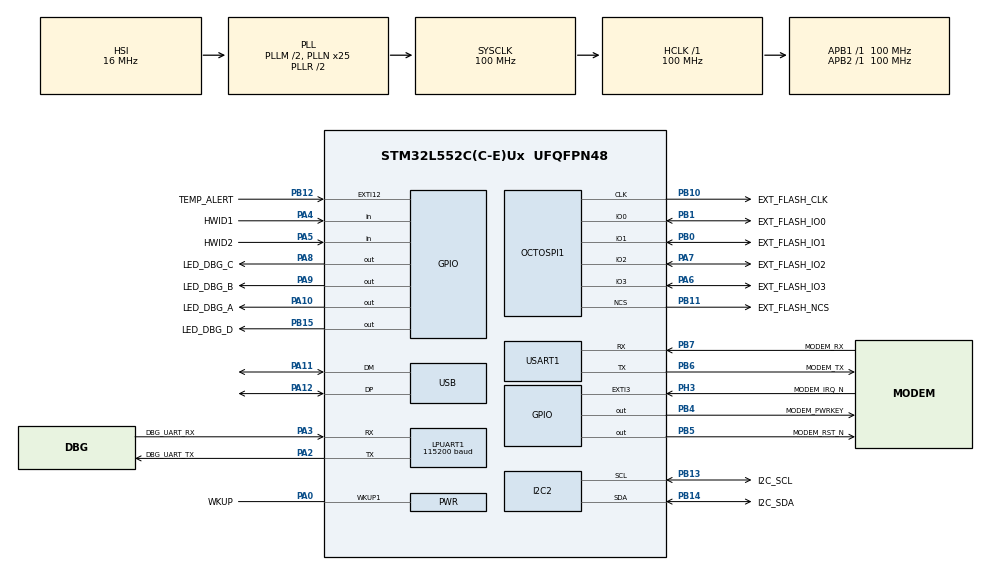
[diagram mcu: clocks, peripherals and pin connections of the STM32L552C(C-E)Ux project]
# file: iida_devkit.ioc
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I2C2.Timing=0x00303D5B
LPUART1.BaudRate=115200
Mcu.Family=STM32L5
Mcu.Name=STM32L552C(C-E)Ux
Mcu.Package=UFQFPN48
NVIC.EXTI12_IRQn=true\:0\:0\:false\:false\:true\:true\:true\:true
NVIC.EXTI3_IRQn=true\:0\:0\:false\:false\:true\:true\:true\:true
NVIC.HASH_IRQn=true\:0\:0\:false\:false\:true\:true\:true\:true
NVIC.I2C2_ER_IRQn=true\:0\:0\:false\:false\:true\:true\:true\:true
NVIC.I2C2_EV_IRQn=true\:0\:0\:false\:false\:true\:true\:true\:true
NVIC.LPUART1_IRQn=true\:0\:0\:false\:false\:true\:true\:true\:true
NVIC.OCTOSPI1_IRQn=true\:0\:0\:false\:false\:true\:true\:true\:true
NVIC.PVD_PVM_IRQn=true\:0\:0\:false\:false\:true\:true\:true\:true
NVIC.PriorityGroup=NVIC_PRIORITYGROUP_3
NVIC.RNG_IRQn=true\:0\:0\:false\:false\:true\:true\:true\:true
NVIC.USART1_IRQn=true\:0\:0\:false\:false\:true\:true\:true\:true
NVIC.USB_FS_IRQn=true\:0\:0\:false\:false\:true\:true\:true\:true
PA0.GPIO_Label=WKUP
PA0.Mode=WakeUp0
PA0.Signal=PWR_WKUP1
PA10.GPIO_Label=LED_DBG_A
PA10.GPIO_PuPd=GPIO_PULLUP
PA10.Signal=GPIO_Output
PA11.GPIO_Speed=GPIO_SPEED_FREQ_VERY_HIGH
PA11.Mode=Device
PA11.Signal=USB_DM
PA12.GPIO_Speed=GPIO_SPEED_FREQ_VERY_HIGH
PA12.Mode=Device
PA12.Signal=USB_DP
PA13\ (JTMS/SWDIO).GPIO_Label=SWDIO
PA13\ (JTMS/SWDIO).Mode=Trace_Asynchronous_SW
PA13\ (JTMS/SWDIO).Signal=DEBUG_JTMS-SWDIO
PA14\ (JTCK/SWCLK).GPIO_Label=SWCLK
PA14\ (JTCK/SWCLK).Mode=Trace_Asynchronous_SW
PA14\ (JTCK/SWCLK).Signal=DEBUG_JTCK-SWCLK
PA2.GPIO_Label=DBG_UART_TX
PA2.GPIO_Speed=GPIO_SPEED_FREQ_HIGH
PA2.Mode=Asynchronous
PA2.Signal=LPUART1_TX
PA3.GPIO_Label=DBG_UART_RX
PA3.GPIO_Speed=GPIO_SPEED_FREQ_HIGH
PA3.Mode=Asynchronous
PA3.Signal=LPUART1_RX
PA4.GPIO_Label=HWID1
PA4.Signal=GPIO_Input
PA5.GPIO_Label=HWID2
PA5.Signal=GPIO_Input
PA6.GPIO_Label=EXT_FLASH_IO3
PA6.Mode=quad_mode
PA6.Signal=OCTOSPI1_IO3
PA7.GPIO_Label=EXT_FLASH_IO2
PA7.Mode=quad_mode
PA7.Signal=OCTOSPI1_IO2
PA8.GPIO_Label=LED_DBG_C
PA8.GPIO_PuPd=GPIO_PULLUP
PA8.Signal=GPIO_Output
PA9.GPIO_Label=LED_DBG_B
PA9.GPIO_PuPd=GPIO_PULLUP
PA9.Signal=GPIO_Output
PB0.GPIO_Label=EXT_FLASH_IO1
PB0.Mode=quad_mode
PB0.Signal=OCTOSPI1_IO1
PB1.GPIO_Label=EXT_FLASH_IO0
PB1.Mode=quad_mode
PB1.Signal=OCTOSPI1_IO0
PB10.GPIO_Label=EXT_FLASH_CLK
PB10.Mode=quad_mode
PB10.Signal=OCTOSPI1_CLK
PB11.GPIO_Label=EXT_FLASH_NCS
PB11.Mode=quad_mode
PB11.Signal=OCTOSPI1_NCS
PB12.GPIO_Label=TEMP_ALERT
PB12.GPIO_ModeDefaultEXTI=GPIO_MODE_IT_FALLING
PB12.GPIO_PuPd=GPIO_PULLUP
PB12.Signal=GPXTI12
PB13.GPIO_Label=I2C_SCL
PB13.GPIO_Speed=GPIO_SPEED_FREQ_HIGH
PB13.Mode=I2C
PB13.Signal=I2C2_SCL
PB14.GPIO_Label=I2C_SDA
PB14.GPIO_Speed=GPIO_SPEED_FREQ_HIGH
PB14.Mode=I2C
PB14.Signal=I2C2_SDA
PB15.GPIO_Label=LED_DBG_D
PB15.GPIO_PuPd=GPIO_PULLUP
PB15.Signal=GPIO_Output
PB3\ (JTDO/TRACESWO).GPIO_Label=SWO
PB3\ (JTDO/TRACESWO).Mode=Trace_Asynchronous_SW
PB3\ (JTDO/TRACESWO).Signal=DEBUG_JTDO-SWO
PB4\ (NJTRST).GPIO_Label=MODEM_PWRKEY
PB4\ (NJTRST).GPIO_PuPd=GPIO_PULLDOWN
PB4\ (NJTRST).Signal=GPIO_Output
PB5.GPIO_Label=MODEM_RST_N
PB5.GPIO_PuPd=GPIO_PULLUP
PB5.Signal=GPIO_Output
PB6.GPIO_Label=MODEM_TX
PB6.GPIO_Speed=GPIO_SPEED_FREQ_HIGH
PB6.Mode=Asynchronous
PB6.Signal=USART1_TX
PB7.GPIO_Label=MODEM_RX
PB7.GPIO_Speed=GPIO_SPEED_FREQ_HIGH
PB7.Mode=Asynchronous
PB7.Signal=USART1_RX
PC14-OSC32_IN\ (PC14).GPIO_Label=LSE_IN
PC14-OSC32_IN\ (PC14).Mode=LSE-External-Oscillator
PC14-OSC32_IN\ (PC14).Signal=RCC_OSC32_IN
PC15-OSC32_OUT\ (PC15).GPIO_Label=LSE_OUT
PC15-OSC32_OUT\ (PC15).Mode=LSE-External-Oscillator
PC15-OSC32_OUT\ (PC15).Signal=RCC_OSC32_OUT
PH0-OSC_IN\ (PH0).GPIO_Label=HSE_IN
PH0-OSC_IN\ (PH0).Mode=HSE-External-Oscillator
PH0-OSC_IN\ (PH0).Signal=RCC_OSC_IN
PH1-OSC_OUT\ (PH1).GPIO_Label=HSE_OUT
PH1-OSC_OUT\ (PH1).Mode=HSE-External-Oscillator
PH1-OSC_OUT\ (PH1).Signal=RCC_OSC_OUT
PH3-BOOT0.GPIO_Label=MODEM_IRQ_N
PH3-BOOT0.GPIO_ModeDefaultEXTI=GPIO_MODE_IT_FALLING
PH3-BOOT0.GPIO_PuPd=GPIO_PULLUP
PH3-BOOT0.Signal=GPXTI3
ProjectManager.HeapSize=0x200
ProjectManager.StackSize=0x400
ProjectManager.TargetToolchain=Makefile
RCC.ADCFreq_Value=48000000
RCC.AHBFreq_Value=100000000
RCC.APB1Freq_Value=100000000
RCC.APB1TimFreq_Value=100000000
RCC.APB2Freq_Value=100000000
RCC.APB2TimFreq_Value=100000000
RCC.CortexFreq_Value=100000000
RCC.FLatency=FLASH_LATENCY_4
RCC.HCLKFreq_Value=100000000
RCC.HSE_VALUE=16000000
RCC.HSI48_VALUE=48000000
RCC.HSI_VALUE=16000000
RCC.I2C2CLockSelection=RCC_I2C2CLKSOURCE_HSI
RCC.LPUART1CLockSelectionVirtual=RCC_LPUART1CLKSOURCE_SYSCLK
RCC.MSIClockRange=RCC_MSIRANGE_8
RCC.MSI_VALUE=16000000
RCC.OCTOSPIMCLockSelection=RCC_OSPICLKSOURCE_PLL
RCC.PLLM=2
RCC.PLLN=25
RCC.PLLSAI1M=4
RCC.PLLSAI1N=24
RCC.PLLSAI1Source=RCC_PLLSAI1SOURCE_HSE
RCC.PLLSAI2Source=RCC_PLLSAI2SOURCE_HSE
RCC.PLLSourceVirtual=RCC_PLLSOURCE_HSI
RCC.RTCClockSelection=RCC_RTCCLKSOURCE_LSE
RCC.SYSCLKFreq_VALUE=100000000
RCC.SYSCLKSource=RCC_SYSCLKSOURCE_PLLCLK
RCC.USART1CLockSelectionVirtual=RCC_USART1CLKSOURCE_SYSCLK
RCC.USBFreq_Value=48000000
RCC.VCOOutputFreq_Value=200000000
USART1.VirtualMode-Asynchronous=VM_ASYNC
USB.battery_charging_enable=ENABLE
VP_CRC_VS_CRC.Mode=CRC_Activate
VP_HASH_VS_HASH.Mode=HASH_Activate
VP_ICACHE_VS_ICACHE.Mode=DirectMappedCache
VP_PWR_VS_DBSignals.Mode=DisableDeadBatterySignals
VP_PWR_VS_SECSignals.Mode=Security/Privilege
VP_RNG_VS_RNG.Mode=RNG_Activate
VP_RTC_VS_RTC_Activate.Mode=RTC_Enabled
VP_RTC_VS_RTC_Calendar.Mode=RTC_Calendar
board=custom

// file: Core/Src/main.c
/* USER CODE BEGIN Header */
// clang-format off
/**
  ******************************************************************************
  * @file           : main.c
  * @brief          : Main program body
  ******************************************************************************
  * @attention
  *
  * Copyright (c) 2024 STMicroelectronics.
  * All rights reserved.
  *
  * This software is licensed under terms that can be found in the LICENSE file
  * in the root directory of this software component.
  * If no LICENSE file comes with this software, it is provided AS-IS.
  *
  ******************************************************************************
  */
/* USER CODE END Header */
#include "main.h"
#include "crc.h"
#include "hash.h"
#include "i2c.h"
#include "icache.h"
#include "usart.h"
#include "octospi.h"
#include "rng.h"
#include "rtc.h"
#include "usb.h"
#include "gpio.h"

/* USER CODE BEGIN Includes */
#include <stdint.h>
#include <stdbool.h>
#include <string.h>
#include <stdio.h>
/* USER CODE END Includes */

/* USER CODE BEGIN PM */
#define STRINGIFY(x) #x
/* USER CODE END PM */

/* USER CODE BEGIN PV */
static enum {
  TEST_INIT = 0,
  TEST_LED_A,
  TEST_LED_B,
  TEST_LED_C,
  TEST_LED_D,
  TEST_DBG_UART,
  TEST_MODEM_UART,
  TEST_QSPI,
  TEST_RTC,
  TEST_I2C,
  TEST_COUNT
} _test;
static const char* _test_names[TEST_COUNT] = {
  STRINGIFY(TEST_INIT),
  STRINGIFY(TEST_LED_A),
  STRINGIFY(TEST_LED_B),
  STRINGIFY(TEST_LED_C),
  STRINGIFY(TEST_LED_D),
  STRINGIFY(TEST_DBG_UART),
  STRINGIFY(TEST_MODEM_UART),
  STRINGIFY(TEST_QSPI),
  STRINGIFY(TEST_RTC),
  STRINGIFY(TEST_I2C)
};
#define MIN_I2C_SLAVE_ADDRESS (0x0U)
#define MAX_I2C_SLAVE_ADDRESS (0x7FU)
static bool _connected_i2c_slaves[MAX_I2C_SLAVE_ADDRESS + 1];
/* USER CODE END PV */

void SystemClock_Config(void);
void PeriphCommonClock_Config(void);

/* USER CODE BEGIN 0 */
int __io_putchar(int ch) {
  return HAL_UART_Transmit(&hlpuart1, (uint8_t*)&ch, 1, 1000UL);
}

int __io_getchar(void) {
  uint8_t ch = 0xFFU;
  if (HAL_UART_Receive(&hlpuart1, &ch, 1, 1000UL) != HAL_OK) {
    return -1;
  }
  return ch;
}
/* USER CODE END 0 */

int main(void)
{

  /* USER CODE BEGIN 1 */
  _test = TEST_INIT;
  bool test_results[TEST_COUNT];
  /* USER CODE END 1 */

  /* MCU Configuration--------------------------------------------------------*/

  /* Reset of all peripherals, Initializes the Flash interface and the Systick. */
  HAL_Init();

  /* Configure the system clock */
  SystemClock_Config();

/* Configure the peripherals common clocks */
  PeriphCommonClock_Config();

  /* Initialize all configured peripherals */
  MX_GPIO_Init();
  MX_CRC_Init();
  MX_HASH_Init();
  MX_I2C2_Init();
  MX_ICACHE_Init();
  MX_LPUART1_UART_Init();
  MX_USART1_UART_Init();
  MX_OCTOSPI1_Init();
  MX_RNG_Init();
  MX_RTC_Init();
  MX_USB_PCD_Init();

  /* Infinite loop */
  /* USER CODE BEGIN WHILE */
  while (1) {
    if (_test >= TEST_COUNT) {
      break;
    }
    printf("TEST: Start %s\n", _test_names[_test]);
    switch (_test) {
      case TEST_INIT:
        for (unsigned i = 0; i < TEST_COUNT; i++) {
          test_results[i] = false;
        }
        for (unsigned i = MIN_I2C_SLAVE_ADDRESS; i < (MAX_I2C_SLAVE_ADDRESS + 1); i++) {
          _connected_i2c_slaves[i] = false;
        }
        HAL_GPIO_WritePin(LED_DBG_A, GPIO_PIN_SET);
        HAL_GPIO_WritePin(LED_DBG_B, GPIO_PIN_SET);
        HAL_GPIO_WritePin(LED_DBG_C, GPIO_PIN_SET);
        HAL_GPIO_WritePin(LED_DBG_D, GPIO_PIN_SET);
        test_results[_test] = true;
        break;
      case TEST_LED_A:
        HAL_GPIO_WritePin(LED_DBG_A, GPIO_PIN_RESET);
        if (HAL_GPIO_ReadPin(LED_DBG_A) != GPIO_PIN_RESET) {
          break;
        }
        HAL_Delay(250UL);
        HAL_GPIO_WritePin(LED_DBG_A, GPIO_PIN_SET);
        if (HAL_GPIO_ReadPin(LED_DBG_A) != GPIO_PIN_SET) {
          break;
        }
        test_results[_test] = true;
        break;
      case TEST_LED_B:
        HAL_GPIO_WritePin(LED_DBG_B, GPIO_PIN_RESET);
        if (HAL_GPIO_ReadPin(LED_DBG_B) != GPIO_PIN_RESET) {
          break;
        }
        HAL_Delay(250UL);
        HAL_GPIO_WritePin(LED_DBG_B, GPIO_PIN_SET);
        if (HAL_GPIO_ReadPin(LED_DBG_B) != GPIO_PIN_SET) {
          break;
        }
        test_results[_test] = true;
        break;
      case TEST_LED_C:
        HAL_GPIO_WritePin(LED_DBG_C, GPIO_PIN_RESET);
        if (HAL_GPIO_ReadPin(LED_DBG_C) != GPIO_PIN_RESET) {
          break;
        }
        HAL_Delay(250UL);
        HAL_GPIO_WritePin(LED_DBG_C, GPIO_PIN_SET);
        if (HAL_GPIO_ReadPin(LED_DBG_C) != GPIO_PIN_SET) {
          break;
        }
        test_results[_test] = true;
        break;
      case TEST_LED_D:
        HAL_GPIO_WritePin(LED_DBG_D, GPIO_PIN_RESET);
        if (HAL_GPIO_ReadPin(LED_DBG_D) != GPIO_PIN_RESET) {
          break;
        }
        HAL_Delay(250UL);
        HAL_GPIO_WritePin(LED_DBG_D, GPIO_PIN_SET);
        if (HAL_GPIO_ReadPin(LED_DBG_D) != GPIO_PIN_SET) {
          break;
        }
        test_results[_test] = true;
        break;
      case TEST_DBG_UART:
        if (HAL_UART_Transmit(&hlpuart1, (uint8_t*)"TEST\n", strlen("TEST\n"), 500UL) != HAL_OK) {
          break;
        }
        test_results[_test] = true;
        break;
      case TEST_MODEM_UART:
        if (HAL_UART_Transmit(&huart1, (uint8_t*)"TEST\n", strlen("TEST\n"), 500UL) != HAL_OK) {
          break;
        }
        test_results[_test] = true;
        break;
      case TEST_RTC:
        RTC_TimeTypeDef rtc_time_start = {0};
        RTC_TimeTypeDef rtc_time_stop = {0};
        RTC_DateTypeDef rtc_date = {0};
        if (HAL_RTC_GetTime(&hrtc, &rtc_time_start, RTC_FORMAT_BCD) != HAL_OK) {
          break;
        }
        if (HAL_RTC_GetDate(&hrtc, &rtc_date, RTC_FORMAT_BCD) != HAL_OK) {
          break;
        }
        HAL_Delay(5000UL);
        if (HAL_RTC_GetTime(&hrtc, &rtc_time_stop, RTC_FORMAT_BCD) != HAL_OK) {
          break;
        }
        if (HAL_RTC_GetDate(&hrtc, &rtc_date, RTC_FORMAT_BCD) != HAL_OK) {
          break;
        }
        if (rtc_time_start.Seconds < rtc_time_stop.Seconds) {
          test_results[_test] = true;
        }
        break;
      case TEST_I2C:
        for (uint16_t i = MIN_I2C_SLAVE_ADDRESS; i < (MAX_I2C_SLAVE_ADDRESS + 1); i++) {
          if (HAL_I2C_IsDeviceReady(&hi2c2, i, 3, 500UL) == HAL_OK) {
            printf("TEST: I2C slave @ 0x%02X\n", i);
            _connected_i2c_slaves[i] = true;
            test_results[_test] = true;
          }
        }
        break;
      case TEST_QSPI:
        {
  #if 0
          uint8_t write_data[4] = {0xAA, 0xBB, 0xCC, 0xDD};
          uint8_t read_data[4] = {0};

          OSPI_RegularCmdTypeDef sCommand;
          sCommand.OperationType = HAL_OSPI_OPTYPE_COMMON_CFG;
          sCommand.FlashId = HAL_OSPI_FLASH_ID_1;
          sCommand.InstructionMode = HAL_OSPI_INSTRUCTION_1_LINE;
          sCommand.InstructionSize = HAL_OSPI_INSTRUCTION_8_BITS;
          sCommand.Instruction = 0x02; // Write command
          sCommand.AddressMode = HAL_OSPI_ADDRESS_1_LINE;
          sCommand.AddressSize = HAL_OSPI_ADDRESS_24_BITS;
          sCommand.Address = 0x1000;
          sCommand.DataMode = HAL_OSPI_DATA_1_LINE;
          sCommand.NbData = sizeof(write_data);
          sCommand.DummyCycles = 0;
          sCommand.DQSMode = HAL_OSPI_DQS_DISABLE;
          sCommand.SIOOMode = HAL_OSPI_SIOO_INST_EVERY_CMD;

          // Write
          if (HAL_OSPI_Command(&hospi1, &sCommand, HAL_OSPI_TIMEOUT_DEFAULT_VALUE) != HAL_OK) {
            break;
          }
          if (HAL_OSPI_Transmit(&hospi1, write_data, HAL_OSPI_TIMEOUT_DEFAULT_VALUE) != HAL_OK) {
            break;
          }

          // Read
          sCommand.Instruction = 0x0B; // Read command
          if (HAL_OSPI_Command(&hospi1, &sCommand, HAL_OSPI_TIMEOUT_DEFAULT_VALUE) != HAL_OK) {
            break;
          }
          if (HAL_OSPI_Receive(&hospi1, read_data, HAL_OSPI_TIMEOUT_DEFAULT_VALUE) != HAL_OK) {
            break;
          }

          // Compare
          if (memcmp(write_data, read_data, sizeof(write_data)) == 0) {
            test_results[_test] = true;
          }
  #else
          test_results[_test] = true;
  #endif
        }
        break;
      default:
        printf("ERROR: Unknown test: %d\n", _test);
        break;
    }

    if (test_results[_test]) {
      printf("TEST: %s PASS\n", _test_names[_test]);
    } else {
      printf("TEST: %s FAIL\n", _test_names[_test]);
    }
    _test++;
  }
    /* USER CODE END WHILE */

    /* USER CODE BEGIN 3 */

  unsigned failed = 0;
  for (unsigned i = 0; i < TEST_COUNT; i++) {
    if (!test_results[i]) {
      failed++;
    }
  }
  printf("\n");
  printf("Failed %u / %u\n", failed, TEST_COUNT);

  while (1) {
    HAL_Delay(1000UL);
  }
  /* USER CODE END 3 */
}

void SystemClock_Config(void)
{
  RCC_OscInitTypeDef RCC_OscInitStruct = {0};
  RCC_ClkInitTypeDef RCC_ClkInitStruct = {0};

  /** Configure the main internal regulator output voltage
  */
  if (HAL_PWREx_ControlVoltageScaling(PWR_REGULATOR_VOLTAGE_SCALE0) != HAL_OK)
  {
    Error_Handler();
  }

  /** Configure LSE Drive Capability
  */
  HAL_PWR_EnableBkUpAccess();
  __HAL_RCC_LSEDRIVE_CONFIG(RCC_LSEDRIVE_LOW);

  /** Initializes the RCC Oscillators according to the specified parameters
  * in the RCC_OscInitTypeDef structure.
  */
  RCC_OscInitStruct.OscillatorType = RCC_OSCILLATORTYPE_HSI|RCC_OSCILLATORTYPE_HSE
                              |RCC_OSCILLATORTYPE_LSE;
  RCC_OscInitStruct.HSEState = RCC_HSE_ON;
  RCC_OscInitStruct.LSEState = RCC_LSE_ON;
  RCC_OscInitStruct.HSIState = RCC_HSI_ON;
  RCC_OscInitStruct.HSICalibrationValue = RCC_HSICALIBRATION_DEFAULT;
  RCC_OscInitStruct.PLL.PLLState = RCC_PLL_ON;
  RCC_OscInitStruct.PLL.PLLSource = RCC_PLLSOURCE_HSI;
  RCC_OscInitStruct.PLL.PLLM = 2;
  RCC_OscInitStruct.PLL.PLLN = 25;
  RCC_OscInitStruct.PLL.PLLP = RCC_PLLP_DIV7;
  RCC_OscInitStruct.PLL.PLLQ = RCC_PLLQ_DIV2;
  RCC_OscInitStruct.PLL.PLLR = RCC_PLLR_DIV2;
  if (HAL_RCC_OscConfig(&RCC_OscInitStruct) != HAL_OK)
  {
    Error_Handler();
  }

  /** Initializes the CPU, AHB and APB buses clocks
  */
  RCC_ClkInitStruct.ClockType = RCC_CLOCKTYPE_HCLK|RCC_CLOCKTYPE_SYSCLK
                              |RCC_CLOCKTYPE_PCLK1|RCC_CLOCKTYPE_PCLK2;
  RCC_ClkInitStruct.SYSCLKSource = RCC_SYSCLKSOURCE_PLLCLK;
  RCC_ClkInitStruct.AHBCLKDivider = RCC_SYSCLK_DIV1;
  RCC_ClkInitStruct.APB1CLKDivider = RCC_HCLK_DIV1;
  RCC_ClkInitStruct.APB2CLKDivider = RCC_HCLK_DIV1;

  if (HAL_RCC_ClockConfig(&RCC_ClkInitStruct, FLASH_LATENCY_4) != HAL_OK)
  {
    Error_Handler();
  }
}

void PeriphCommonClock_Config(void)
{
  RCC_PeriphCLKInitTypeDef PeriphClkInit = {0};

  /** Initializes the common periph clock
  */
  PeriphClkInit.PeriphClockSelection = RCC_PERIPHCLK_USB|RCC_PERIPHCLK_RNG;
  PeriphClkInit.UsbClockSelection = RCC_USBCLKSOURCE_PLLSAI1;
  PeriphClkInit.RngClockSelection = RCC_RNGCLKSOURCE_PLLSAI1;
  PeriphClkInit.PLLSAI1.PLLSAI1Source = RCC_PLLSAI1SOURCE_HSE;
  PeriphClkInit.PLLSAI1.PLLSAI1M = 4;
  PeriphClkInit.PLLSAI1.PLLSAI1N = 24;
  PeriphClkInit.PLLSAI1.PLLSAI1P = RCC_PLLP_DIV7;
  PeriphClkInit.PLLSAI1.PLLSAI1Q = RCC_PLLQ_DIV2;
  PeriphClkInit.PLLSAI1.PLLSAI1R = RCC_PLLR_DIV2;
  PeriphClkInit.PLLSAI1.PLLSAI1ClockOut = RCC_PLLSAI1_48M2CLK;
  if (HAL_RCCEx_PeriphCLKConfig(&PeriphClkInit) != HAL_OK)
  {
    Error_Handler();
  }
}

void Error_Handler(void)
{
  __disable_irq();
  while (1)
  {
  }
}
